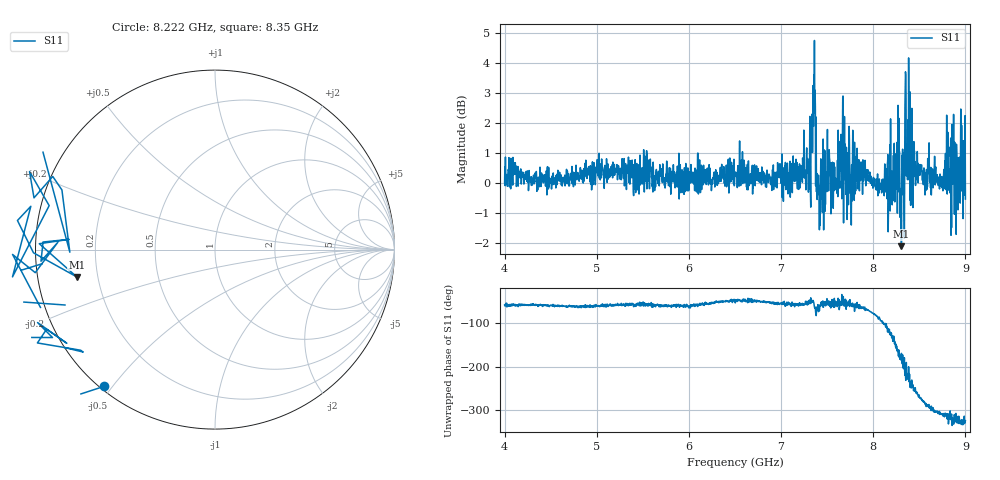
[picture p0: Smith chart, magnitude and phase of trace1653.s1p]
! Created with skrf 1.8.0 (http://scikit-rf.org).
# Hz S RI R 50.0
!freq ReS11 ImS11
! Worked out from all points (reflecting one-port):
!   1601 points, 4 GHz to 9 GHz, reference 50 ohm
!   lowest |S11| = -2.1 dB at 8.306 GHz (marker M1), VSWR 8.29, Z = 6.09 - j4.82 ohm
!   phase of S11 starts at -58 deg and turns -266 deg over the sweep
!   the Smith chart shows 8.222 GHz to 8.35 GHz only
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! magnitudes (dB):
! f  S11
! 4 GHz  0.0
! 4.1 GHz  0.5
! 4.625 GHz  -0.1
! 5.25 GHz  0.1
! 5.875 GHz  0.6
! 6.5 GHz  0.3
! 7.125 GHz  0.4
! 7.297 GHz  -0.3
! 7.356 GHz  3.6
! 7.381 GHz  1.6
! 7.4 GHz  -0.1
! 7.425 GHz  -0.1
! 7.512 GHz  0.7
! 7.591 GHz  0.2
! 7.666 GHz  1.5
! 7.7 GHz  0.4
! 7.75 GHz  -0.3
! 8.094 GHz  -0.3
! 8.262 GHz  -1.0
! 8.306 GHz  -2.1
! 8.316 GHz  0.5
! 8.334 GHz  -0.8
! 8.375 GHz  0.3
! 8.425 GHz  0.1
! 8.556 GHz  0.0
! 8.919 GHz  -0.9
! 8.972 GHz  0.3
! 9 GHz  -0.5
